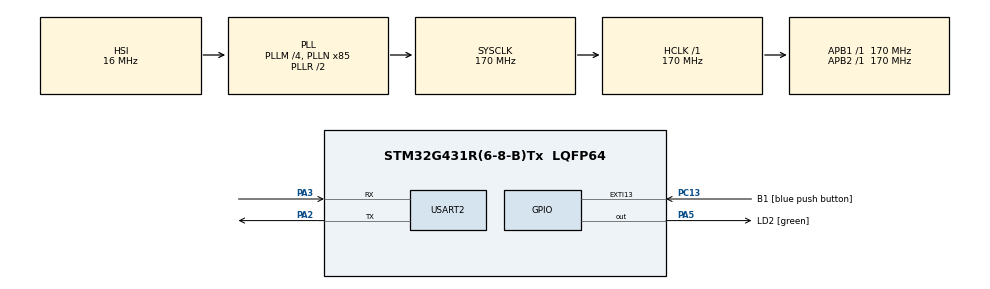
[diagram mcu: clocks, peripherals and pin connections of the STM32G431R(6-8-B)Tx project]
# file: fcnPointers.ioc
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ADC1.Channel-0\#ChannelRegularConversion=ADC_CHANNEL_TEMPSENSOR_ADC1
ADC1.NbrOfConversionFlag=1
ADC1.OffsetNumber-0\#ChannelRegularConversion=ADC_OFFSET_NONE
ADC1.Rank-0\#ChannelRegularConversion=1
ADC1.SamplingTime-0\#ChannelRegularConversion=ADC_SAMPLETIME_640CYCLES_5
ADC1.master=1
Mcu.Family=STM32G4
Mcu.Name=STM32G431R(6-8-B)Tx
Mcu.Package=LQFP64
NVIC.EXTI15_10_IRQn=true\:0\:0\:false\:false\:true\:true\:true\:true
NVIC.PriorityGroup=NVIC_PRIORITYGROUP_4
NVIC.USART2_IRQn=true\:0\:0\:false\:false\:true\:true\:true\:true
PA13.GPIO_Label=T_SWDIO
PA13.Signal=SYS_JTMS-SWDIO
PA14.GPIO_Label=T_SWCLK
PA14.Signal=SYS_JTCK-SWCLK
PA2.Mode=Asynchronous
PA2.Signal=USART2_TX
PA3.Mode=Asynchronous
PA3.Signal=USART2_RX
PA5.GPIO_Label=LD2 [green]
PA5.Signal=GPIO_Output
PB3.GPIO_Label=T_SWO
PB3.Signal=SYS_JTDO-SWO
PC13.GPIO_Label=B1 [blue push button]
PC13.Signal=GPXTI13
PC14-OSC32_IN.GPIO_Label=RCC_OSC32_OUT
PC14-OSC32_IN.Signal=RCC_OSC32_IN
PC15-OSC32_OUT.GPIO_Label=RCC_OSC32_OUT
PC15-OSC32_OUT.Signal=RCC_OSC32_OUT
PF0-OSC_IN.GPIO_Label=RCC_OSC_IN
PF0-OSC_IN.Signal=RCC_OSC_IN
PF1-OSC_OUT.GPIO_Label=RCC_OSC_OUT
PF1-OSC_OUT.Signal=RCC_OSC_OUT
ProjectManager.HeapSize=0x200
ProjectManager.StackSize=0x400
ProjectManager.TargetToolchain=STM32CubeIDE
RCC.ADC12Freq_Value=170000000
RCC.AHBFreq_Value=170000000
RCC.APB1Freq_Value=170000000
RCC.APB1TimFreq_Value=170000000
RCC.APB2Freq_Value=170000000
RCC.APB2TimFreq_Value=170000000
RCC.CortexFreq_Value=170000000
RCC.EXTERNAL_CLOCK_VALUE=12288000
RCC.HCLKFreq_Value=170000000
RCC.HSE_VALUE=24000000
RCC.HSI48_VALUE=48000000
RCC.HSI_VALUE=16000000
RCC.LSE_VALUE=32768
RCC.PLLM=RCC_PLLM_DIV4
RCC.PLLN=85
RCC.RTCClockSelection=RCC_RTCCLKSOURCE_LSE
RCC.SYSCLKFreq_VALUE=170000000
RCC.SYSCLKSource=RCC_SYSCLKSOURCE_PLLCLK
RCC.USBFreq_Value=170000000
RCC.VCOOutputFreq_Value=340000000
USART2.VirtualMode-Asynchronous=VM_ASYNC
VP_ADC1_TempSens_Input.Mode=IN-TempSens
VP_SYS_VS_DBSignals.Mode=DisableDeadBatterySignals
board=NUCLEO-G431RB

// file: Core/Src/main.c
/* USER CODE BEGIN Header */
/**
  ******************************************************************************
  * @file           : main.c
  * @brief          : Main program body
  ******************************************************************************
  * @attention
  *
  * Copyright (c) 2025 STMicroelectronics.
  * All rights reserved.
  *
  * This software is licensed under terms that can be found in the LICENSE file
  * in the root directory of this software component.
  * If no LICENSE file comes with this software, it is provided AS-IS.
  *
  ******************************************************************************
  */
/* USER CODE END Header */
#include "main.h"

ADC_HandleTypeDef hadc1;

UART_HandleTypeDef huart2;

void SystemClock_Config(void);
static void MX_GPIO_Init(void);
static void MX_USART2_UART_Init(void);
static void MX_ADC1_Init(void);

/* USER CODE BEGIN 0 */

#include <stdio.h>
#include <string.h>

#ifdef __GNUC__
#define PUTCHAR_PROTOTYPE int __io_putchar(int ch)
#else
#define PUTCHAR_PROTOTYPE int fputc(int ch, FILE *f)
#endif

/* Retargets the C library printf function to the USART */
PUTCHAR_PROTOTYPE
{
    HAL_UART_Transmit(&huart2, (uint8_t *)&ch, 1, 0xFFFF);
    return ch;
}

#define UART_BUFFER_SIZE 64

uint8_t uart_rx_buffer[UART_BUFFER_SIZE];
uint8_t uart_rx_byte;
volatile uint8_t command_ready = 0;

void HAL_UART_RxCpltCallback(UART_HandleTypeDef *huart)
{
    static uint16_t buffer_index = 0;

    if (huart->Instance == USART2)
    {
        if (uart_rx_byte == '\n' || buffer_index >= UART_BUFFER_SIZE - 1)
        {
            // End of command or buffer full
            uart_rx_buffer[buffer_index] = '\0';
            buffer_index = 0;
            command_ready = 1;
        }
        else
        {
            uart_rx_buffer[buffer_index++] = uart_rx_byte;
        }
        HAL_UART_Receive_IT(&huart2, &uart_rx_byte, 1);
    }
}

typedef void (*functionPointerType)(void);
struct commandStruct
{
	char const *name;
	functionPointerType execute;
	char const *help;
};

void cmdPing(void)
{
	printf("pong \n");
}

void cmdVersion(void)
{
	printf("Firmware version: v1.0.1 \n");
}

void cmdTempTest(void)
{
	static float temperature = 0;
	printf("Measuring temperature...\n");
	HAL_ADC_Start(&hadc1);

	if(HAL_ADC_PollForConversion(&hadc1, 1000) == HAL_OK)
	{
		uint32_t adcValue = HAL_ADC_GetValue(&hadc1);
        temperature = (((float)adcValue - 1240) * (110.0f - 30.0f))  / (4095 - 1240) + 30.0f;
		printf("Temperature = %.1f degC.\n", temperature);
	}
	else
	{
		printf("ADC conversion failed! \n");
	}
	printf("Finished temperature measurement: %s \n", (temperature > 20 && temperature < 30) ? "PASS" : "FAIL");
	HAL_ADC_Stop(&hadc1);
}

void cmdBlinkLed(void)
{
    printf("Blinking LED at 1Hz...\n");
    for (int i = 0; i < 10; i++)
    {
        HAL_GPIO_TogglePin(LD2_GPIO_Port, LD2_Pin);
        HAL_Delay(500);
    }
    printf("Finished blinking LED.\n");
}

void cmdHelp(void);

const struct commandStruct commands[]=
{
		{"help", &cmdHelp, "Display list of available commands."},
		{"ver", &cmdVersion, "Display firmware version."},
		{"tempTest", &cmdTempTest, "Run temperature test."},
		{"blinkLed", &cmdBlinkLed, "Set the LED to blink at 1Hz."},
		{"ping", &cmdPing, "Return pong for comms verification."},
		{"",0,""} // End of table indicator. Must be last!
};

void cmdHelp(void)
{
	printf("### Available commands: \n");
	for(int i = 0; i<= (sizeof(commands)/sizeof(commands[0]) - 2); i++)
	{
		printf("- %s: %s \n", commands[i].name, commands[i].help);
	}
}

void HandleCommand(void) {
    if (command_ready)
    {
        command_ready = 0;

        // Iterate through the command table
        for (int i = 0; commands[i].execute != NULL; i++)
        {
            if (strcmp((char *)uart_rx_buffer, commands[i].name) == 0)
            {
                commands[i].execute(); // Call the corresponding function
                return;
            }
        }

        // If no match, send an error message
        printf("Unknown command: %s\n", uart_rx_buffer);
    }
}

/* USER CODE END 0 */

int main(void)
{

  /* MCU Configuration--------------------------------------------------------*/

  /* Reset of all peripherals, Initializes the Flash interface and the Systick. */
  HAL_Init();

  /* Configure the system clock */
  SystemClock_Config();

  /* Initialize all configured peripherals */
  MX_GPIO_Init();
  MX_USART2_UART_Init();
  MX_ADC1_Init();
  /* USER CODE BEGIN 2 */

  HAL_UART_Receive_IT(&huart2, &uart_rx_byte, 1);
  printf("command handler example initiated...\n");
  cmdHelp();

  /* USER CODE END 2 */

  /* Infinite loop */
  /* USER CODE BEGIN WHILE */
  while (1)
  {
	  HAL_Delay(500);
	  HandleCommand();
    /* USER CODE END WHILE */

  }
}

void SystemClock_Config(void)
{
  RCC_OscInitTypeDef RCC_OscInitStruct = {0};
  RCC_ClkInitTypeDef RCC_ClkInitStruct = {0};

  /** Configure the main internal regulator output voltage
  */
  HAL_PWREx_ControlVoltageScaling(PWR_REGULATOR_VOLTAGE_SCALE1_BOOST);

  /** Initializes the RCC Oscillators according to the specified parameters
  * in the RCC_OscInitTypeDef structure.
  */
  RCC_OscInitStruct.OscillatorType = RCC_OSCILLATORTYPE_HSI;
  RCC_OscInitStruct.HSIState = RCC_HSI_ON;
  RCC_OscInitStruct.HSICalibrationValue = RCC_HSICALIBRATION_DEFAULT;
  RCC_OscInitStruct.PLL.PLLState = RCC_PLL_ON;
  RCC_OscInitStruct.PLL.PLLSource = RCC_PLLSOURCE_HSI;
  RCC_OscInitStruct.PLL.PLLM = RCC_PLLM_DIV4;
  RCC_OscInitStruct.PLL.PLLN = 85;
  RCC_OscInitStruct.PLL.PLLP = RCC_PLLP_DIV2;
  RCC_OscInitStruct.PLL.PLLQ = RCC_PLLQ_DIV2;
  RCC_OscInitStruct.PLL.PLLR = RCC_PLLR_DIV2;
  if (HAL_RCC_OscConfig(&RCC_OscInitStruct) != HAL_OK)
  {
    Error_Handler();
  }

  /** Initializes the CPU, AHB and APB buses clocks
  */
  RCC_ClkInitStruct.ClockType = RCC_CLOCKTYPE_HCLK|RCC_CLOCKTYPE_SYSCLK
                              |RCC_CLOCKTYPE_PCLK1|RCC_CLOCKTYPE_PCLK2;
  RCC_ClkInitStruct.SYSCLKSource = RCC_SYSCLKSOURCE_PLLCLK;
  RCC_ClkInitStruct.AHBCLKDivider = RCC_SYSCLK_DIV1;
  RCC_ClkInitStruct.APB1CLKDivider = RCC_HCLK_DIV1;
  RCC_ClkInitStruct.APB2CLKDivider = RCC_HCLK_DIV1;

  if (HAL_RCC_ClockConfig(&RCC_ClkInitStruct, FLASH_LATENCY_4) != HAL_OK)
  {
    Error_Handler();
  }
}

static void MX_ADC1_Init(void)
{

  ADC_MultiModeTypeDef multimode = {0};
  ADC_ChannelConfTypeDef sConfig = {0};

  /** Common config
  */
  hadc1.Instance = ADC1;
  hadc1.Init.ClockPrescaler = ADC_CLOCK_SYNC_PCLK_DIV4;
  hadc1.Init.Resolution = ADC_RESOLUTION_12B;
  hadc1.Init.DataAlign = ADC_DATAALIGN_RIGHT;
  hadc1.Init.GainCompensation = 0;
  hadc1.Init.ScanConvMode = ADC_SCAN_DISABLE;
  hadc1.Init.EOCSelection = ADC_EOC_SINGLE_CONV;
  hadc1.Init.LowPowerAutoWait = DISABLE;
  hadc1.Init.ContinuousConvMode = DISABLE;
  hadc1.Init.NbrOfConversion = 1;
  hadc1.Init.DiscontinuousConvMode = DISABLE;
  hadc1.Init.ExternalTrigConv = ADC_SOFTWARE_START;
  hadc1.Init.ExternalTrigConvEdge = ADC_EXTERNALTRIGCONVEDGE_NONE;
  hadc1.Init.DMAContinuousRequests = DISABLE;
  hadc1.Init.Overrun = ADC_OVR_DATA_PRESERVED;
  hadc1.Init.OversamplingMode = DISABLE;
  if (HAL_ADC_Init(&hadc1) != HAL_OK)
  {
    Error_Handler();
  }

  /** Configure the ADC multi-mode
  */
  multimode.Mode = ADC_MODE_INDEPENDENT;
  if (HAL_ADCEx_MultiModeConfigChannel(&hadc1, &multimode) != HAL_OK)
  {
    Error_Handler();
  }

  /** Configure Regular Channel
  */
  sConfig.Channel = ADC_CHANNEL_TEMPSENSOR_ADC1;
  sConfig.Rank = ADC_REGULAR_RANK_1;
  sConfig.SamplingTime = ADC_SAMPLETIME_640CYCLES_5;
  sConfig.SingleDiff = ADC_SINGLE_ENDED;
  sConfig.OffsetNumber = ADC_OFFSET_NONE;
  sConfig.Offset = 0;
  if (HAL_ADC_ConfigChannel(&hadc1, &sConfig) != HAL_OK)
  {
    Error_Handler();
  }

}

static void MX_USART2_UART_Init(void)
{

  huart2.Instance = USART2;
  huart2.Init.BaudRate = 115200;
  huart2.Init.WordLength = UART_WORDLENGTH_8B;
  huart2.Init.StopBits = UART_STOPBITS_1;
  huart2.Init.Parity = UART_PARITY_NONE;
  huart2.Init.Mode = UART_MODE_TX_RX;
  huart2.Init.HwFlowCtl = UART_HWCONTROL_NONE;
  huart2.Init.OverSampling = UART_OVERSAMPLING_16;
  huart2.Init.OneBitSampling = UART_ONE_BIT_SAMPLE_DISABLE;
  huart2.Init.ClockPrescaler = UART_PRESCALER_DIV1;
  huart2.AdvancedInit.AdvFeatureInit = UART_ADVFEATURE_NO_INIT;
  if (HAL_UART_Init(&huart2) != HAL_OK)
  {
    Error_Handler();
  }
  if (HAL_UARTEx_SetTxFifoThreshold(&huart2, UART_TXFIFO_THRESHOLD_1_8) != HAL_OK)
  {
    Error_Handler();
  }
  if (HAL_UARTEx_SetRxFifoThreshold(&huart2, UART_RXFIFO_THRESHOLD_1_8) != HAL_OK)
  {
    Error_Handler();
  }
  if (HAL_UARTEx_DisableFifoMode(&huart2) != HAL_OK)
  {
    Error_Handler();
  }

}

static void MX_GPIO_Init(void)
{
  GPIO_InitTypeDef GPIO_InitStruct = {0};

  /* GPIO Ports Clock Enable */
  __HAL_RCC_GPIOC_CLK_ENABLE();
  __HAL_RCC_GPIOF_CLK_ENABLE();
  __HAL_RCC_GPIOA_CLK_ENABLE();
  __HAL_RCC_GPIOB_CLK_ENABLE();

  /*Configure GPIO pin Output Level */
  HAL_GPIO_WritePin(LD2_GPIO_Port, LD2_Pin, GPIO_PIN_RESET);

  /*Configure GPIO pin : B1_Pin */
  GPIO_InitStruct.Pin = B1_Pin;
  GPIO_InitStruct.Mode = GPIO_MODE_IT_RISING;
  GPIO_InitStruct.Pull = GPIO_NOPULL;
  HAL_GPIO_Init(B1_GPIO_Port, &GPIO_InitStruct);

  /*Configure GPIO pin : LD2_Pin */
  GPIO_InitStruct.Pin = LD2_Pin;
  GPIO_InitStruct.Mode = GPIO_MODE_OUTPUT_PP;
  GPIO_InitStruct.Pull = GPIO_NOPULL;
  GPIO_InitStruct.Speed = GPIO_SPEED_FREQ_LOW;
  HAL_GPIO_Init(LD2_GPIO_Port, &GPIO_InitStruct);

  /* EXTI interrupt init*/
  HAL_NVIC_SetPriority(EXTI15_10_IRQn, 0, 0);
  HAL_NVIC_EnableIRQ(EXTI15_10_IRQn);

}

void Error_Handler(void)
{
  __disable_irq();
  while (1)
  {
  }
}
